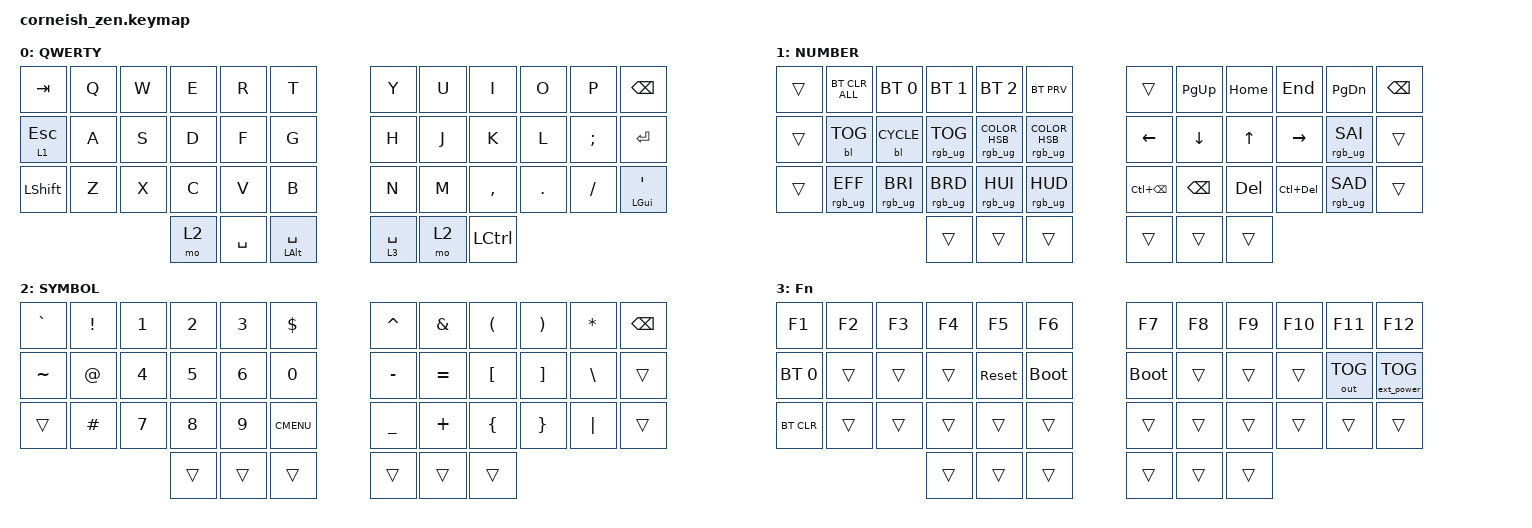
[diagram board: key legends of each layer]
/*
 * Copyright (c) 2020 The ZMK Contributors
 *
 * SPDX-License-Identifier: MIT
 */

#include <behaviors.dtsi>
#include <dt-bindings/zmk/backlight.h>
#include <dt-bindings/zmk/bt.h>
#include <dt-bindings/zmk/ext_power.h>
#include <dt-bindings/zmk/keys.h>
#include <dt-bindings/zmk/outputs.h>
#include <dt-bindings/zmk/rgb.h>

/ {
    chosen {
        zmk,matrix_transform = &default_transform;

        // zmk,matrix_transform = &five_column_transform;
    };
};

/ {
    behaviors {
        td0: td0 {
            compatible = "zmk,behavior-tap-dance";
            label = "TD0";
            #binding-cells = <0>;
            bindings = <&lt 2 SPACE>, <&kp LEFT_WIN>;
        };
    };

    keymap {
        compatible = "zmk,keymap";

        default_layer {
            display-name = "QWERTY";

            // --------------------------------------------------------------------------------
            // |  TAB |  Q  |  W  |  E  |  R  |  T  |   |  Y  |  U   |  I  |  O  |  P  | BKSP |
            // | CTRL |  A  |  S  |  D  |  F  |  G  |   |  H  |  J   |  K  |  L  |  ;  |  '   | 
            // | SHFT |  Z  |  X  |  C  |  V  |  B  |   |  N  |  M   |  ,  |  .  |  /  | ESC  |
            //                    | GUI | LWR | SPC |   | ENT | RSE  | ALT |

            bindings = <
&kp TAB         &kp Q  &kp W  &kp E  &kp R      &kp T                 &kp Y        &kp U  &kp I      &kp O    &kp P     &kp BSPC
&lt 1 ESC       &kp A  &kp S  &kp D  &kp F      &kp G                 &kp H        &kp J  &kp K      &kp L    &kp SEMI  &kp ENTER
&kp LEFT_SHIFT  &kp Z  &kp X  &kp C  &kp V      &kp B                 &kp N        &kp M  &kp COMMA  &kp DOT  &kp FSLH  &mt LEFT_GUI SQT
                              &mo 2  &kp SPACE  &mt LEFT_ALT SPACE    &lt 3 SPACE  &mo 2  &kp LCTRL
            >;
        };

        lower_layer {
            display-name = "NUMBER";

            // -----------------------------------------------------------------------------------------
            // |  TAB |  1  |  2  |  3  |  4  |  5  |   |  6  |  7  |  8  |  9  |  0  | BKSP |
            // | BTCLR| BT1 | BT2 | BT3 | BT4 | BT5 |   | LFT | DWN |  UP | RGT |     |      |
            // | SHFT |     |     |     |     |     |   |     |     |     |     |     |      |
            //                    | GUI |     | SPC |   | ENT |     | ALT |

            bindings = <
&trans  &bt BT_CLR_ALL   &bt BT_SEL 0     &bt BT_SEL 1     &bt BT_SEL 2                      &bt BT_PRV                        &trans             &kp PAGE_UP    &kp HOME  &kp END      &kp PAGE_DOWN    &kp BSPC
&trans  &bl BL_TOG       &bl BL_CYCLE     &rgb_ug RGB_TOG  &rgb_ug RGB_COLOR_HSB(180,58,53)  &rgb_ug RGB_COLOR_HSB(0,0,100)    &kp LEFT           &kp DOWN       &kp UP    &kp RIGHT    &rgb_ug RGB_SAI  &trans
&trans  &rgb_ug RGB_EFF  &rgb_ug RGB_BRI  &rgb_ug RGB_BRD  &rgb_ug RGB_HUI                   &rgb_ug RGB_HUD                   &kp LC(BACKSPACE)  &kp BACKSPACE  &kp DEL   &kp LC(DEL)  &rgb_ug RGB_SAD  &trans
                                          &trans           &trans                            &trans                            &trans             &trans         &trans
            >;
        };

        raise_layer {
            display-name = "SYMBOL";

            // -----------------------------------------------------------------------------------------
            // |  TAB |  !  |  @  |  #  |  $  |  %  |   |  ^  |  &  |  *  |  (  |  )  | BKSP |
            // | CTRL |     |     |     |     |     |   |  -  |  =  |  [  |  ]  |  \  |  `   |
            // | SHFT |     |     |     |     |     |   |  _  |  +  |  {  |  }  | "|" |  ~   |
            //                    | GUI |     | SPC |   | ENT |     | ALT |

            bindings = <
&kp GRAVE  &kp EXCL  &kp NUMBER_1  &kp NUMBER_2  &kp NUMBER_3  &kp DOLLAR      &kp CARET  &kp AMPS   &kp LPAR  &kp RPAR  &kp ASTERISK  &kp BSPC
&kp TILDE  &kp AT    &kp NUMBER_4  &kp NUMBER_5  &kp NUMBER_6  &kp NUMBER_0    &kp MINUS  &kp EQUAL  &kp LBKT  &kp RBKT  &kp BSLH      &trans
&trans     &kp HASH  &kp NUMBER_7  &kp NUMBER_8  &kp NUMBER_9  &kp K_CMENU     &kp UNDER  &kp PLUS   &kp LBRC  &kp RBRC  &kp PIPE      &trans
                                   &trans        &trans        &trans          &trans     &trans     &trans
            >;
        };

        layer_3 {
            display-name = "Fn";
            bindings = <
&kp F1        &kp F2  &kp F3  &kp F4  &kp F5      &kp F6         &kp F7       &kp F8  &kp F9  &kp F10  &kp F11       &kp F12
&bt BT_SEL 0  &trans  &trans  &trans  &sys_reset  &bootloader    &bootloader  &trans  &trans  &trans   &out OUT_TOG  &ext_power EP_TOG
&bt BT_CLR    &trans  &trans  &trans  &trans      &trans         &trans       &trans  &trans  &trans   &trans        &trans
                              &trans  &trans      &trans         &trans       &trans  &trans
            >;
        };
    };
};
